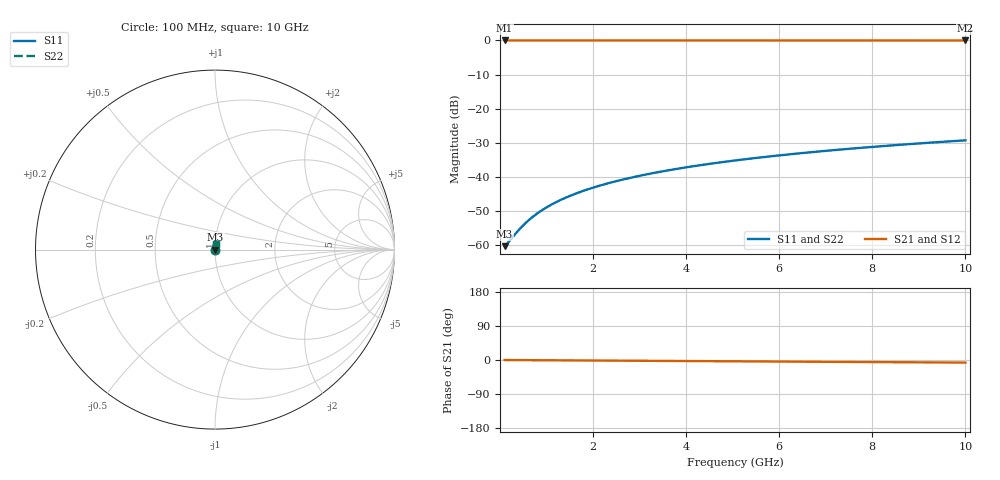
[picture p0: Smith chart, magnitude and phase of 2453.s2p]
# Hz S RI R 50.00
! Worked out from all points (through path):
!   100 points, 100 MHz to 10 GHz, reference 50 ohm
!   highest |S21| = -0.01 dB at 100 MHz (marker M1); lowest = 0.0 dB at 10 GHz (marker M2)
!   lowest |S11| = -60.4 dB at 100 MHz (marker M3), VSWR 1.00, Z = 50.1 + j0.0342 ohm
!   |S11| at or under -10 dB: start of sweep to end of sweep
!   |S22| runs from -60.4 to -29.3 dB; largest |S21 - S12| = 0
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1e8  0.000895 0.000342  0.9991 -0.00119  0.9991 -0.00119  0.000895 0.000342
2e8  0.000901 0.000683  0.9991 -0.00238  0.9991 -0.00238  0.000901 0.000683
4e8  0.000914 0.00137  0.9991 -0.00476  0.9991 -0.00476  0.000914 0.00137
5e8  0.00092 0.00171  0.9991 -0.00595  0.9991 -0.00595  0.00092 0.00171
6e8  0.000927 0.00205  0.9991 -0.00714  0.9991 -0.00714  0.000927 0.00205
7e8  0.000934 0.00239  0.999 -0.00833  0.999 -0.00833  0.000934 0.00239
8e8  0.000942 0.00273  0.999 -0.00952  0.999 -0.00952  0.000942 0.00273
1e9  0.00096 0.00341  0.999 -0.0119  0.999 -0.0119  0.00096 0.00341
1.2e9  0.000981 0.0041  0.999 -0.0143  0.999 -0.0143  0.000981 0.0041
1.5e9  0.00102 0.00512  0.9989 -0.0179  0.9989 -0.0179  0.00102 0.00512
1.8e9  0.00106 0.00614  0.9988 -0.0214  0.9988 -0.0214  0.00106 0.00614
2.1e9  0.00111 0.00717  0.9987 -0.025  0.9987 -0.025  0.00111 0.00717
2.5e9  0.00119 0.00853  0.9986 -0.0298  0.9986 -0.0298  0.00119 0.00853
2.9e9  0.00128 0.00989  0.9984 -0.0345  0.9984 -0.0345  0.00128 0.00989
3.4e9  0.00141 0.0116  0.9981 -0.0405  0.9981 -0.0405  0.00141 0.0116
4.2e9  0.00167 0.0143  0.9977 -0.05  0.9977 -0.05  0.00167 0.0143
5.1e9  0.00201 0.0174  0.997 -0.0607  0.997 -0.0607  0.00201 0.0174
5.9e9  0.00237 0.0201  0.9963 -0.0702  0.9963 -0.0702  0.00237 0.0201
6.7e9  0.00279 0.0228  0.9955 -0.0797  0.9955 -0.0797  0.00279 0.0228
7.5e9  0.00326 0.0255  0.9946 -0.0893  0.9946 -0.0893  0.00326 0.0255
8.4e9  0.00384 0.0285  0.9935 -0.1  0.9935 -0.1  0.00384 0.0285
1e10  0.00505 0.0338  0.9912 -0.119  0.9912 -0.119  0.00505 0.0338
